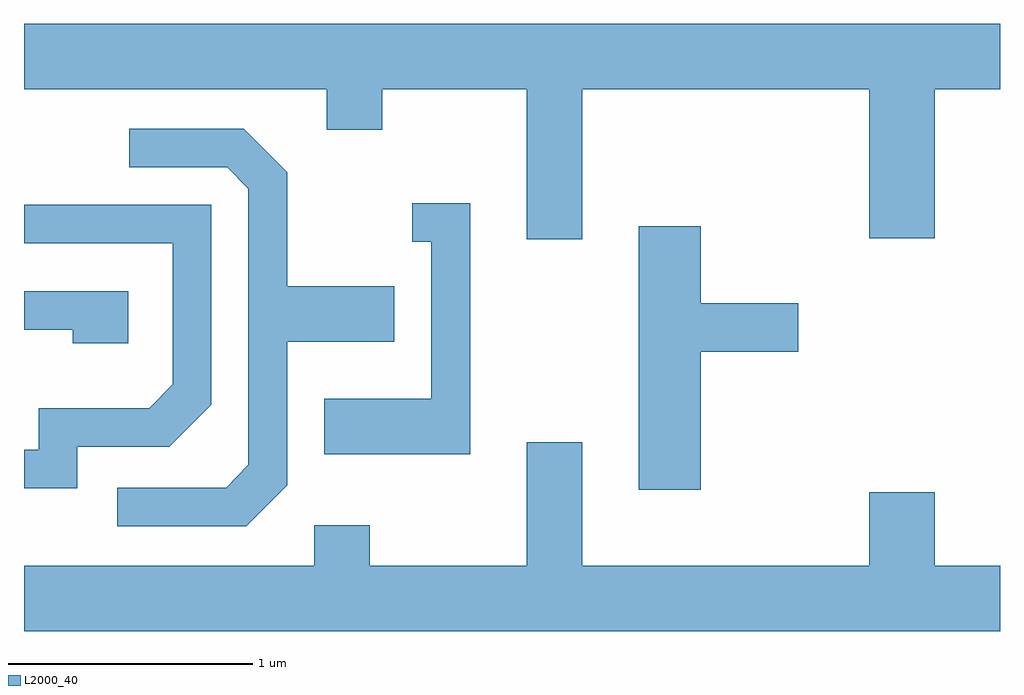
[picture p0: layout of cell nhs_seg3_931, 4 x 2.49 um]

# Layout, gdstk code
import gdstk
lib = gdstk.Library(unit=1e-6, precision=1e-09)
def P(c, l, *ps):  # polygons
    for p in ps: c.add(gdstk.Polygon(p, *l))
L2000_40 = (2000, 40)

nhs_seg3_931 = lib.new_cell('nhs_seg3_931')
P(nhs_seg3_931, L2000_40, [(213.899,1212.596),(215.076,1212.596),(215.076,1211.986),(215.344,1211.986),(215.344,1212.596),(215.611,1212.596),(215.611,1212.864),(211.611,1212.864),(211.611,1212.596),(212.851,1212.596),(212.851,1212.431),(213.079,1212.431),(213.079,1212.596),(213.671,1212.596),(213.671,1211.981),(213.899,1211.981)],
  [(212.689,1210.974),(212.689,1211.561),(213.129,1211.561),(213.129,1211.789),(212.689,1211.789),(212.689,1212.257),(212.512,1212.434),(212.043,1212.434),(212.043,1212.276),(212.444,1212.276),(212.531,1212.189),(212.531,1211.057),(212.439,1210.964),(211.993,1210.964),(211.993,1210.806),(212.522,1210.806)],
  [(213.439,1212.129),(213.203,1212.129),(213.203,1211.971),(213.281,1211.971),(213.281,1211.329),(212.841,1211.329),(212.841,1211.101),(213.439,1211.101)],
  [(211.829,1211.131),(212.207,1211.131),(212.379,1211.304),(212.379,1212.124),(211.611,1212.124),(211.611,1211.966),(212.221,1211.966),(212.221,1211.387),(212.124,1211.289),(211.671,1211.289),(211.671,1211.119),(211.611,1211.119),(211.611,1210.961),(211.829,1210.961)],
  [(214.384,1211.521),(214.784,1211.521),(214.784,1211.719),(214.384,1211.719),(214.384,1212.034),(214.131,1212.034),(214.131,1210.956),(214.384,1210.956)],
  [(212.039,1211.769),(211.611,1211.769),(211.611,1211.611),(211.811,1211.611),(211.811,1211.556),(212.039,1211.556)],
  [(215.076,1210.944),(215.076,1210.644),(213.899,1210.644),(213.899,1211.149),(213.671,1211.149),(213.671,1210.644),(213.029,1210.644),(213.029,1210.809),(212.801,1210.809),(212.801,1210.644),(211.611,1210.644),(211.611,1210.376),(215.611,1210.376),(215.611,1210.644),(215.344,1210.644),(215.344,1210.944)])

lib.write_gds('nhs_seg3_931.gds')
